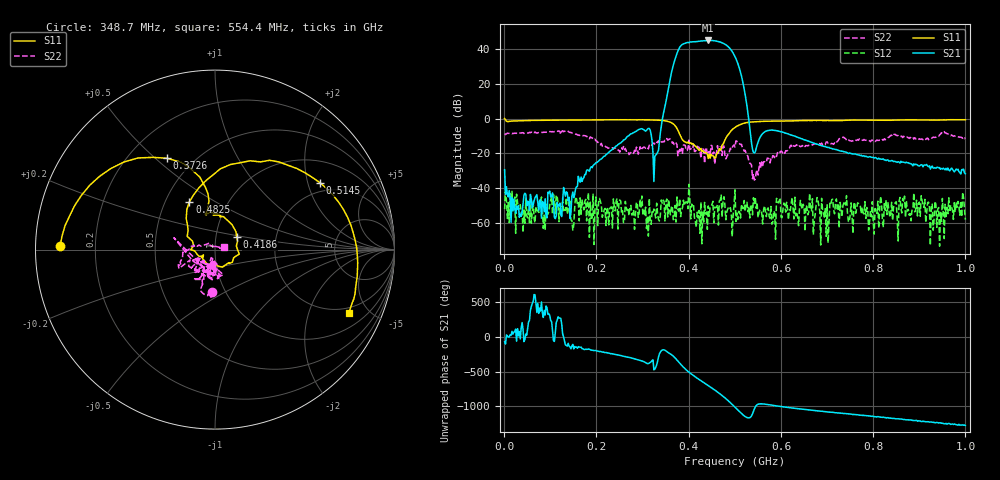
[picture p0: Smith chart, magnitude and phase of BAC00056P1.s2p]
!measured: 2026-10-27T15:22:33
!cal_instance: BBtestOct27
!cal_created: 2026-10-27T14:45
!cal_file: BBtesting.cal
!port1_delay_ps: -58.63
!port2_delay_ps: -59.31
!host: dhcp-10-250-247-203.harvard.edu
! Created with skrf 2.1.0 (http://scikit-rf.org).
# Hz S RI R 50.0
!freq ReS11 ImS11 ReS21 ImS21 ReS12 ImS12 ReS22 ImS22
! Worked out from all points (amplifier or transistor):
!   501 points, 1 MHz to 1 GHz, reference 50 ohm
!   highest |S21| = 45.1 dB at 442.6 MHz (marker M1)
!   |S21| within 3 dB of that: 383.4 MHz to 483.2 MHz (99.85 MHz wide, 23 % of centre)
!   unconditionally stable (mu >= 1): 2.354 MHz to 399.9 MHz; 402.6 MHz to 468.9 MHz; 500.6 MHz to end of sweep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
!   at 166.8 MHz: K = 2166.33, MAG = -25.6 dB, |S12| = -55.2 dB
!   at 500.5 MHz: K = 0.98, MSG = 38.4 dB, |S12| = -41.1 dB
!   at 1 GHz: K = 2116.02, MAG = -23.1 dB, |S12| = -58.3 dB
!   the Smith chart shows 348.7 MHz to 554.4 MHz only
!   S11 on the Smith chart (normalised r, x): 348.7 MHz: 0.07, +0.01; 372.6 MHz: 0.36, +0.55; 418.6 MHz: 1.26, +0.18; 482.5 MHz: 0.66, +0.39; 514.5 MHz: 1.67, +2.40; 554.4 MHz: 1.67, -3.73
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1000000  -0.3946 0.9198  0.0108 -0.0317  -0.00111 0.00217  0.3354 -0.00161
1.68832e8  0.4934 -0.766  -0.0152 -0.00275  -0.00348 -0.00307  -0.0185 -0.3262
3.34666e8  -0.8457 -0.3081  0.0455 0.1142  0.00123 -2.7e-05  0.0505 -0.2249
3.48652e8  -0.8629 0.0213  -2.161 0.5414  0.00104 -0.000399  -0.0152 -0.2352
3.72628e8  -0.2669 0.5091  47.75 41.15  -0.000195 0.00102  -0.1091 -0.1662
3.82618e8  -0.0388 0.3105  101.4 -71.24  -0.00144 -0.000379  -0.0934 -0.0459
3.92608e8  -0.0468 0.2061  -31.93 -146.2  0.000915 -0.00363  -0.1108 -0.1268
4.06594e8  0.028 0.1826  -163.3 -3.401  -0.00266 0.00214  -0.0231 -0.1353
4.18582e8  0.1209 0.0681  -96.59 137  -0.00176 -0.000963  -0.0172 -0.1585
4.3057e8  0.0969 -0.0701  51.34 166.4  0.00198 -0.000238  -0.0182 -0.133
4.42558e8  -0.00811 -0.07  168.6 61.33  -0.00202 -0.00224  -0.0797 -0.0676
4.52548e8  -0.0749 -0.0393  161 -76.18  0.00313 -0.00266  -0.0814 -0.0482
4.64536e8  -0.1147 -0.00631  22.42 -165.7  9.1e-05 0.000844  -0.0374 -0.092
4.74526e8  -0.1498 0.1052  -102.5 -108.9  0.000438 -0.00417  0.0199 -0.1588
4.82518e8  -0.1425 0.2668  -129 -4.205  -0.000614 0.00189  -0.000588 -0.0778
4.9051e8  -0.00973 0.4174  -70.32 73.25  0.00104 -0.00248  -0.0661 -0.1224
5.005e8  0.254 0.4886  21.36 57.39  0.00874 -0.00108  -0.1395 -0.0582
5.14486e8  0.5858 0.3722  15.78 -6.301  -0.00336 -0.000266  -0.1803 -0.0169
5.54446e8  0.7458 -0.3544  -0.131 0.2495  -0.000742 -0.00217  0.0511 0.015
6.68332e8  0.0379 -0.8809  0.1821 0.086  -0.000178 -0.00489  0.0484 -0.1666
8.34166e8  -0.6187 -0.6481  0.00578 -0.0592  -0.00123 0.00185  -0.1734 -0.2315
1e9  -0.9015 -0.21  -0.025 0.00527  0.000563 -0.00108  -0.2295 -0.1627
